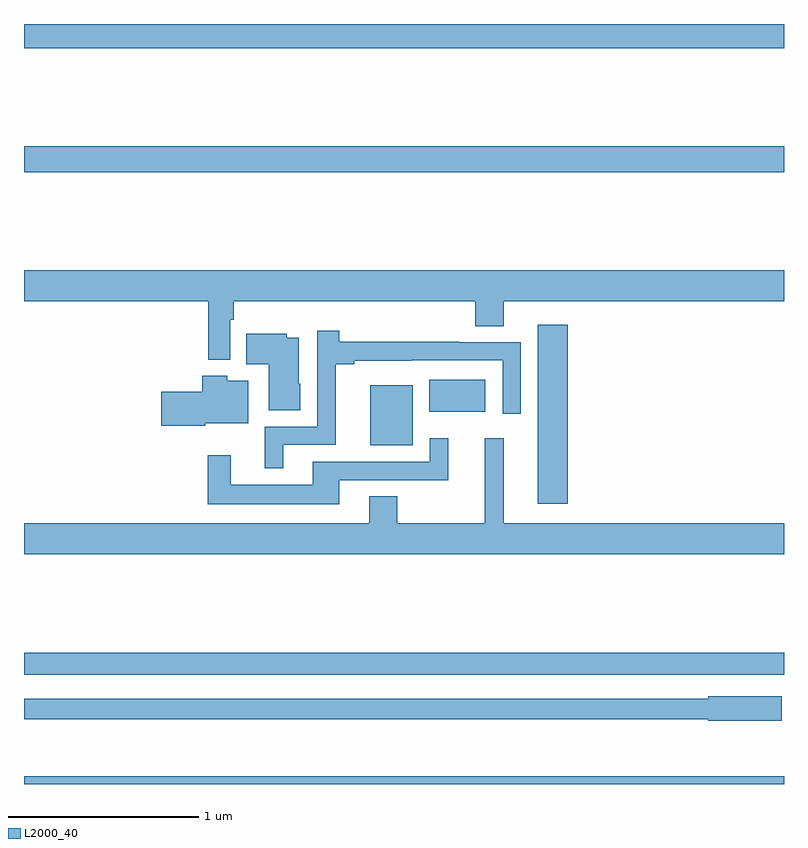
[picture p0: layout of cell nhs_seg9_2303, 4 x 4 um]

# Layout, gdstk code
import gdstk
lib = gdstk.Library(unit=1e-6, precision=1e-09)
def R(c, l, rs):  # rectangles x0, y0, x1, y1
    for r in rs: c.add(gdstk.rectangle(r[:2], r[2:], *l))
def P(c, l, *ps):  # polygons
    for p in ps: c.add(gdstk.Polygon(p, *l))
L2000_40 = (2000, 40)

nhs_seg9_2303 = lib.new_cell('nhs_seg9_2303')
R(nhs_seg9_2303, L2000_40, [(241,1240.5,245,1240.54), (241,1241.076,245,1241.192), (243.704,1241.976,243.863,1242.916), (242.822,1242.284,243.046,1242.598), (243.134,1242.458,243.427,1242.628), (241,1243.72,245,1243.856), (241,1244.372,245,1244.5)])
P(nhs_seg9_2303, L2000_40, [(242.085,1242.944),(242.105,1242.944),(242.105,1243.04),(243.374,1243.04),(243.374,1242.91),(243.526,1242.91),(243.526,1243.04),(245,1243.04),(245,1243.204),(241,1243.204),(241,1243.04),(241.969,1243.04),(241.969,1242.734),(242.085,1242.734)],
  [(242.365,1242.285),(242.642,1242.285),(242.642,1242.709),(242.737,1242.709),(242.737,1242.728),(243.038,1242.728),(243.038,1242.729),(243.519,1242.729),(243.519,1242.45),(243.615,1242.45),(243.615,1242.825),(243.29,1242.825),(243.29,1242.827),(242.66,1242.827),(242.66,1242.886),(242.544,1242.886),(242.544,1242.381),(242.267,1242.381),(242.267,1242.161),(242.365,1242.161)],
  [(242.455,1242.606),(242.446,1242.606),(242.446,1242.85),(242.382,1242.85),(242.382,1242.871),(242.17,1242.871),(242.17,1242.71),(242.288,1242.71),(242.288,1242.466),(242.455,1242.466)],
  [(241.953,1242.398),(242.179,1242.398),(242.179,1242.622),(242.07,1242.622),(242.07,1242.649),(241.937,1242.649),(241.937,1242.564),(241.722,1242.564),(241.722,1242.386),(241.953,1242.386)],
  [(242.659,1242.099),(243.233,1242.099),(243.233,1242.319),(243.135,1242.319),(243.135,1242.195),(242.519,1242.195),(242.519,1242.076),(242.089,1242.076),(242.089,1242.229),(241.968,1242.229),(241.968,1241.972),(242.659,1241.972)],
  [(245,1241.872),(243.524,1241.872),(243.524,1242.319),(243.425,1242.319),(243.425,1241.872),(242.964,1241.872),(242.964,1242.014),(242.816,1242.014),(242.816,1241.872),(241,1241.872),(241,1241.708),(245,1241.708)],
  [(244.987,1240.963),(244.602,1240.963),(244.602,1240.95),(241,1240.95),(241,1240.842),(244.602,1240.842),(244.602,1240.834),(244.987,1240.834)])

lib.write_gds('nhs_seg9_2303.gds')
